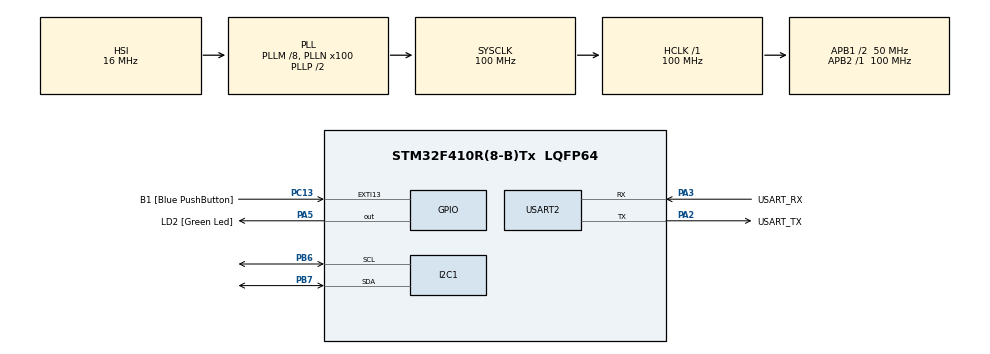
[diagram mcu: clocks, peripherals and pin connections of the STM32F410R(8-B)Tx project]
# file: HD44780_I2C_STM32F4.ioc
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Mcu.Family=STM32F4
PC15-OSC32_OUT.Mode=LSE-External-Oscillator
RCC.CortexFreq_Value=100000000
PC13-ANTI_TAMP.GPIO_Label=B1 [Blue PushButton]
PA14.GPIO_Label=TCK
PH1\ -\ OSC_OUT.Mode=HSE-External-Clock-Source
RCC.APB1CLKDivider=RCC_HCLK_DIV2
PC14-OSC32_IN.Signal=RCC_OSC32_IN
RCC.SYSCLKSource=RCC_SYSCLKSOURCE_PLLCLK
ProjectManager.StackSize=0x400
PA13.Signal=SYS_JTMS-SWDIO
PA3.Mode=Asynchronous
PH0\ -\ OSC_IN.Mode=HSE-External-Clock-Source
PH0\ -\ OSC_IN.Signal=RCC_OSC_IN
ProjectManager.TargetToolchain=SW4STM32
RCC.HCLKFreq_Value=100000000
RCC.APB2TimFreq_Value=100000000
PB6.Signal=I2C1_SCL
PB6.Mode=I2C
PC15-OSC32_OUT.Signal=RCC_OSC32_OUT
RCC.AHBFreq_Value=100000000
NVIC.EXTI15_10_IRQn=true\:0\:0\:false\:false\:true\:true\:true
PA5.Signal=GPIO_Output
RCC.HSE_VALUE=8000000
PH1\ -\ OSC_OUT.Signal=RCC_OSC_OUT
board=NUCLEO-F410RB
PC13-ANTI_TAMP.Signal=GPXTI13
RCC.VCOOutputFreq_Value=200000000
RCC.APB2Freq_Value=100000000
PC14-OSC32_IN.Mode=LSE-External-Oscillator
PA14.Mode=Serial_Wire
PB7.Signal=I2C1_SDA
PA13.Mode=Serial_Wire
Mcu.Name=STM32F410R(8-B)Tx
PA2.Signal=USART2_TX
PA13.GPIO_Label=TMS
RCC.FLatency-AdvancedSettings=FLASH_LATENCY_3
RCC.48MHZClocksFreq_Value=50000000
PB3.Signal=SYS_JTDO-SWO
RCC.SYSCLKFreq_VALUE=100000000
Mcu.Package=LQFP64
PA5.GPIO_Label=LD2 [Green Led]
USART2.VirtualMode=VM_ASYNC
PC13-ANTI_TAMP.GPIO_ModeDefaultEXTI=GPIO_MODE_IT_FALLING
PA2.GPIO_Label=USART_TX
PB7.Mode=I2C
PA14.Signal=SYS_JTCK-SWCLK
ProjectManager.HeapSize=0x200
RCC.HSI_VALUE=16000000
NVIC.PriorityGroup=NVIC_PRIORITYGROUP_0
RCC.PLLM=8
RCC.PLLN=100
RCC.APB1TimFreq_Value=100000000
PA2.Mode=Asynchronous
RCC.APB1Freq_Value=50000000
PA3.GPIO_Label=USART_RX
PA3.Signal=USART2_RX
PB3.GPIO_Label=SWO

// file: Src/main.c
/* USER CODE BEGIN Header */
/**
  ******************************************************************************
  * @file           : main.c
  * @brief          : Main program body
  ******************************************************************************
  * @attention
  *
  * <h2><center>&copy; Copyright (c) 2020 STMicroelectronics.
  * All rights reserved.</center></h2>
  *
  * This software component is licensed by ST under BSD 3-Clause license,
  * the "License"; You may not use this file except in compliance with the
  * License. You may obtain a copy of the License at:
  *                        opensource.org/licenses/BSD-3-Clause
  *
  ******************************************************************************
  */
/* USER CODE END Header */
#include "main.h"

/* USER CODE BEGIN Includes */
#include <stdint.h>
#include "HD44780_I2C_STM32F4.h"
#include "examples.h"

/* USER CODE END Includes */

I2C_HandleTypeDef hi2c1;

UART_HandleTypeDef huart2;

/* USER CODE BEGIN PV */
I2C_LCD_HandleTypeDef lcd1;
uint8_t state = 0;
/* USER CODE END PV */

void SystemClock_Config(void);
static void MX_GPIO_Init(void);
static void MX_I2C1_Init(void);
static void MX_USART2_UART_Init(void);
/* USER CODE BEGIN PFP */
static void LCD1_init(void);
/* USER CODE END PFP */

int main(void)
{

  /* MCU Configuration--------------------------------------------------------*/

  /* Reset of all peripherals, Initializes the Flash interface and the Systick. */
  HAL_Init();

  /* Configure the system clock */
  SystemClock_Config();

  /* Initialize all configured peripherals */
  MX_GPIO_Init();
  MX_I2C1_Init();
  MX_USART2_UART_Init();
  /* USER CODE BEGIN 2 */
  LCD1_init();

  EX_HelloWorld(&lcd1);
  HAL_Delay(10000);

  /* USER CODE END 2 */

  /* Infinite loop */
  while (1)
  {

    /* USER CODE BEGIN 3 */
	LCD_CMD_ClearDisplay(&lcd1);
	switch(state){
		case 0:
			EX_WriteLeftToRight(&lcd1);
			break;
		case 1:
			EX_WriteRightToLeft(&lcd1);
			break;
		case 2:
			EX_ShiftingDisplayRight(&lcd1);
			break;
		case 3:
			EX_ShiftingDisplayLeft(&lcd1);
			break;
		case 4:
			EX_Animation(&lcd1);
			break;
	}

  }
  /* USER CODE END 3 */
}

void SystemClock_Config(void)
{
  RCC_OscInitTypeDef RCC_OscInitStruct = {0};
  RCC_ClkInitTypeDef RCC_ClkInitStruct = {0};

  /** Configure the main internal regulator output voltage
  */
  __HAL_RCC_PWR_CLK_ENABLE();
  __HAL_PWR_VOLTAGESCALING_CONFIG(PWR_REGULATOR_VOLTAGE_SCALE1);
  /** Initializes the RCC Oscillators according to the specified parameters
  * in the RCC_OscInitTypeDef structure.
  */
  RCC_OscInitStruct.OscillatorType = RCC_OSCILLATORTYPE_HSI;
  RCC_OscInitStruct.HSIState = RCC_HSI_ON;
  RCC_OscInitStruct.HSICalibrationValue = RCC_HSICALIBRATION_DEFAULT;
  RCC_OscInitStruct.PLL.PLLState = RCC_PLL_ON;
  RCC_OscInitStruct.PLL.PLLSource = RCC_PLLSOURCE_HSI;
  RCC_OscInitStruct.PLL.PLLM = 8;
  RCC_OscInitStruct.PLL.PLLN = 100;
  RCC_OscInitStruct.PLL.PLLP = RCC_PLLP_DIV2;
  RCC_OscInitStruct.PLL.PLLQ = 4;
  RCC_OscInitStruct.PLL.PLLR = 2;
  if (HAL_RCC_OscConfig(&RCC_OscInitStruct) != HAL_OK)
  {
    Error_Handler();
  }
  /** Initializes the CPU, AHB and APB buses clocks
  */
  RCC_ClkInitStruct.ClockType = RCC_CLOCKTYPE_HCLK|RCC_CLOCKTYPE_SYSCLK
                              |RCC_CLOCKTYPE_PCLK1|RCC_CLOCKTYPE_PCLK2;
  RCC_ClkInitStruct.SYSCLKSource = RCC_SYSCLKSOURCE_PLLCLK;
  RCC_ClkInitStruct.AHBCLKDivider = RCC_SYSCLK_DIV1;
  RCC_ClkInitStruct.APB1CLKDivider = RCC_HCLK_DIV2;
  RCC_ClkInitStruct.APB2CLKDivider = RCC_HCLK_DIV1;

  if (HAL_RCC_ClockConfig(&RCC_ClkInitStruct, FLASH_LATENCY_3) != HAL_OK)
  {
    Error_Handler();
  }
}

static void MX_I2C1_Init(void)
{

  hi2c1.Instance = I2C1;
  hi2c1.Init.ClockSpeed = 100000;
  hi2c1.Init.DutyCycle = I2C_DUTYCYCLE_2;
  hi2c1.Init.OwnAddress1 = 0;
  hi2c1.Init.AddressingMode = I2C_ADDRESSINGMODE_7BIT;
  hi2c1.Init.DualAddressMode = I2C_DUALADDRESS_DISABLE;
  hi2c1.Init.OwnAddress2 = 0;
  hi2c1.Init.GeneralCallMode = I2C_GENERALCALL_DISABLE;
  hi2c1.Init.NoStretchMode = I2C_NOSTRETCH_DISABLE;
  if (HAL_I2C_Init(&hi2c1) != HAL_OK)
  {
    Error_Handler();
  }

}

static void MX_USART2_UART_Init(void)
{

  huart2.Instance = USART2;
  huart2.Init.BaudRate = 115200;
  huart2.Init.WordLength = UART_WORDLENGTH_8B;
  huart2.Init.StopBits = UART_STOPBITS_1;
  huart2.Init.Parity = UART_PARITY_NONE;
  huart2.Init.Mode = UART_MODE_TX_RX;
  huart2.Init.HwFlowCtl = UART_HWCONTROL_NONE;
  huart2.Init.OverSampling = UART_OVERSAMPLING_16;
  if (HAL_UART_Init(&huart2) != HAL_OK)
  {
    Error_Handler();
  }

}

static void MX_GPIO_Init(void)
{
  GPIO_InitTypeDef GPIO_InitStruct = {0};

  /* GPIO Ports Clock Enable */
  __HAL_RCC_GPIOC_CLK_ENABLE();
  __HAL_RCC_GPIOH_CLK_ENABLE();
  __HAL_RCC_GPIOA_CLK_ENABLE();
  __HAL_RCC_GPIOB_CLK_ENABLE();

  /*Configure GPIO pin Output Level */
  HAL_GPIO_WritePin(LD2_GPIO_Port, LD2_Pin, GPIO_PIN_RESET);

  /*Configure GPIO pin : B1_Pin */
  GPIO_InitStruct.Pin = B1_Pin;
  GPIO_InitStruct.Mode = GPIO_MODE_IT_FALLING;
  GPIO_InitStruct.Pull = GPIO_NOPULL;
  HAL_GPIO_Init(B1_GPIO_Port, &GPIO_InitStruct);

  /*Configure GPIO pin : LD2_Pin */
  GPIO_InitStruct.Pin = LD2_Pin;
  GPIO_InitStruct.Mode = GPIO_MODE_OUTPUT_PP;
  GPIO_InitStruct.Pull = GPIO_NOPULL;
  GPIO_InitStruct.Speed = GPIO_SPEED_FREQ_LOW;
  HAL_GPIO_Init(LD2_GPIO_Port, &GPIO_InitStruct);

  /* EXTI interrupt init*/
  HAL_NVIC_SetPriority(EXTI15_10_IRQn, 0, 0);
  HAL_NVIC_EnableIRQ(EXTI15_10_IRQn);

}

/* USER CODE BEGIN 4 */
static void LCD1_init(void){
  lcd1.hi2c = &hi2c1; // Interface I2C a qual o LCD está conectado
  lcd1.address = 0x4E; // Endereço I2C do LCD já deslocado de 1 bit para a esquerda (0x4E é o padrão para o módulo utilizado)
  lcd1.backlight = BACKLIGHT_ON; // Opção para a luz de fundo

  I2C_LCD_InitTypeDef lcd1Init; // Armazena as configurações iniciais do LCD

  lcd1Init.lcdHandler = &lcd1;
  lcd1Init.functionSet = BITS4_LINES2_5X8DOTS;
  lcd1Init.entryMode = MOVE_CURSOR_INCREMENT;
  lcd1Init.displayMode = DISPLAY_ON_CURSOR_ON_BLINKING_ON;

  LCD_init(&lcd1Init); // Realiza os procedimentos de inicialização do LCD.
}

void HAL_GPIO_EXTI_Callback(uint16_t GPIO_Pin){
	if(GPIO_Pin == GPIO_PIN_13){
		if(state < 5){
			state++;
		}else{
			state = 0;
		}
	}
}
/* USER CODE END 4 */

void Error_Handler(void)
{
}

/************************ (C) COPYRIGHT STMicroelectronics *****END OF FILE****/
